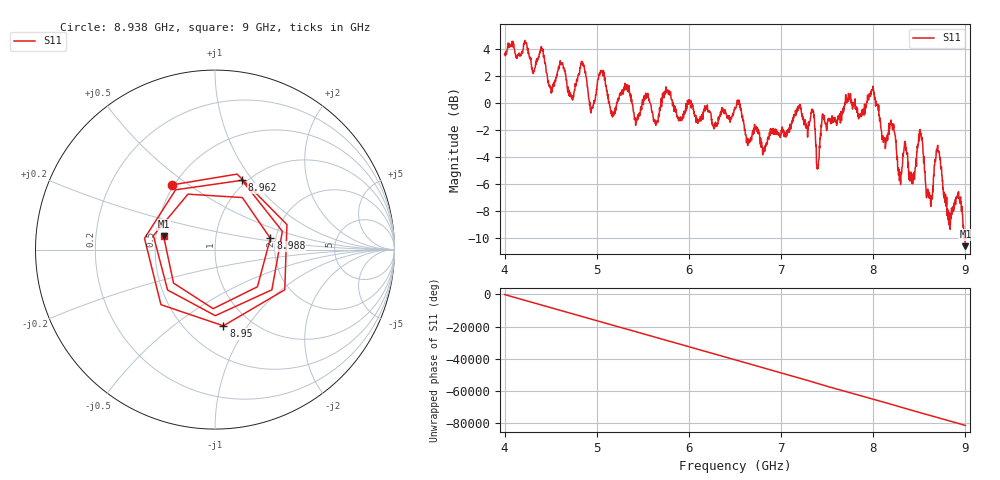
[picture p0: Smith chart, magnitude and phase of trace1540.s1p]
! Created with skrf 1.8.0 (http://scikit-rf.org).
# Hz S RI R 50.0
!freq ReS11 ImS11
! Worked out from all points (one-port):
!   1601 points, 4 GHz to 9 GHz, reference 50 ohm
!   lowest |S11| = -10.6 dB at 9 GHz (marker M1), VSWR 1.84, Z = 27.5 + j4.4 ohm
!   |S11| at or under -10 dB: 8.987545 GHz to 8.991397 GHz (3.852 MHz wide, 0.0428 % of centre); 8.995174 GHz to end of sweep
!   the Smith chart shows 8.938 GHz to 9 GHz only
!   S11 on the Smith chart (normalised r, x): 8.938 GHz: 0.49, +0.43; 8.95 GHz: 0.75, -0.78; 8.962 GHz: 0.95, +0.89; 8.988 GHz: 1.87, +0.26; 9 GHz: 0.55, +0.09
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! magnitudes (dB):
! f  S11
! 4 GHz  3.6
! 4.625 GHz  2.9
! 4.728 GHz  0.5
! 4.853 GHz  2.7
! 4.941 GHz  -0.4
! 5.047 GHz  2.4
! 5.166 GHz  -1.0
! 5.25 GHz  0.6
! 5.875 GHz  -1.0
! 6.5 GHz  -0.4
! 6.806 GHz  -3.4
! 7.125 GHz  -1.3
! 7.338 GHz  -0.7
! 7.4 GHz  -4.7
! 7.459 GHz  -0.9
! 7.75 GHz  0.3
! 7.997 GHz  1.2
! 8.284 GHz  -5.8
! 8.375 GHz  -4.3
! 8.512 GHz  -2.4
! 8.6 GHz  -6.9
! 8.703 GHz  -3.6
! 8.812 GHz  -8.0
! 8.938 GHz  -7.3
! 8.95 GHz  -7.4
! 8.962 GHz  -7.7
! 8.988 GHz  -10.0
! 9 GHz  -10.6
